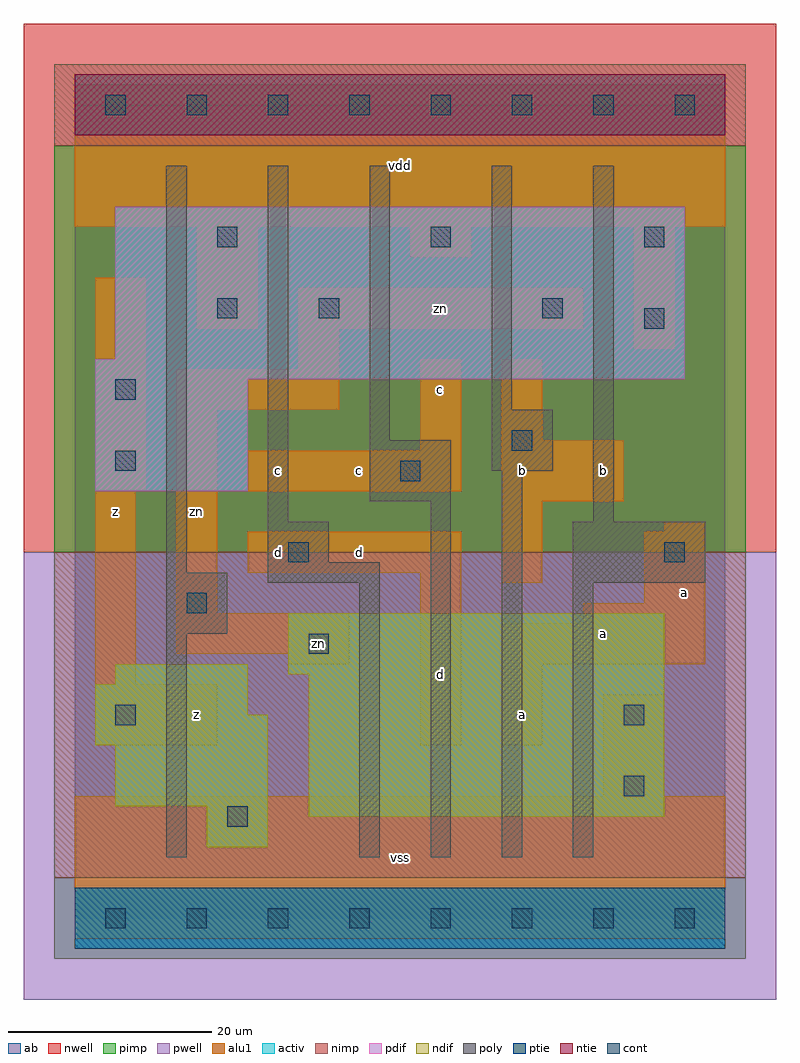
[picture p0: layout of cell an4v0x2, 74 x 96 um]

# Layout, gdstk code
import gdstk
lib = gdstk.Library(unit=1e-6, precision=1e-09)
def R(c, l, rs):  # rectangles x0, y0, x1, y1
    for r in rs: c.add(gdstk.rectangle(r[:2], r[2:], *l))
def A(c, l, x, y, w, h, nx, ny, dx, dy):  # array of equal rectangles
    R(c, l, [(x+i*dx, y+j*dy, x+i*dx+w, y+j*dy+h) for i in range(nx) for j in range(ny)])
ndif = (3, 0)
pdif = (4, 0)
ntie = (5, 0)
ptie = (6, 0)
cont = (25, 0)
pwell = (41, 0)
nwell = (42, 0)
activ = (43, 0)
pimp = (44, 0)
nimp = (45, 0)
poly = (46, 0)
alu1 = (49, 0)
ab = (63, 0)

an4v0x2 = lib.new_cell('an4v0x2')
R(an4v0x2, ndif, [(13,7,19,11), (23,10,58,24), (4,11,19,17), (2,17,19,20), (2,20,17,23), (4,23,17,25), (21,24,58,30)])
R(an4v0x2, pdif, [(2,42,17,53), (2,53,60,55), (4,55,60,70)])
R(an4v0x2, ntie, [(0,77,64,83)])
R(an4v0x2, ptie, [(0,-3,64,3)])
A(an4v0x2, cont, 3, -1, 2, 2, 8, 2, 8, 80)
A(an4v0x2, cont, 14, 66, 2, 2, 3, 1, 21, 0)
R(an4v0x2, cont, [(15,9,17,11), (54,12,56,14), (4,19,6,21), (54,19,56,21), (23,26,25,28), (11,30,13,32), (21,35,23,37), (58,35,60,37), (32,43,34,45), (4,44,6,46), (43,46,45,48), (4,51,6,53), (56,58,58,60), (14,59,16,61), (24,59,26,61), (46,59,48,61)])
R(an4v0x2, pwell, [(-5,-8,69,36)])
R(an4v0x2, nwell, [(-5,36,69,88)])
R(an4v0x2, activ, [(0,-3,64,3), (13,7,19,11), (23,10,58,24), (4,11,19,17), (2,17,19,20), (2,20,17,23), (4,23,17,25), (21,24,58,30), (2,42,17,53), (2,53,60,55), (4,55,60,70), (0,77,64,83)])
R(an4v0x2, pimp, [(-2,-4,66,4), (-2,36,66,76)])
R(an4v0x2, nimp, [(-2,4,66,36), (-2,76,66,84)])
R(an4v0x2, poly, [(9,6,11,28), (28,6,30,33), (35,6,37,41), (42,6,44,44), (49,6,51,33), (9,28,15,34), (19,33,30,35), (49,33,62,39), (9,34,11,74), (19,35,25,39), (19,39,21,74), (51,39,53,74), (29,41,37,47), (41,44,47,50), (29,47,31,74), (41,50,43,74)])
R(an4v0x2, alu1, [(0,-2,64,12), (52,12,58,22), (2,17,14,23), (34,17,38,34), (42,17,46,25), (2,23,6,42), (21,25,27,26), (42,25,62,29), (10,26,27,30), (50,29,62,31), (10,30,14,50), (56,31,62,38), (42,33,46,41), (17,34,38,38), (58,38,62,39), (42,41,54,47), (2,42,7,63), (17,42,38,46), (34,46,38,55), (42,47,46,55), (10,50,26,54), (22,54,26,58), (55,56,59,68), (12,58,18,68), (22,58,50,62), (33,65,39,68), (0,68,64,82)])
R(an4v0x2, ab, [(0,0,64,80)])
an4v0x2.add(gdstk.Label('zn', (12,40), layer=49, texttype=0))
an4v0x2.add(gdstk.Label('zn', (24,27), layer=49, texttype=0))
an4v0x2.add(gdstk.Label('zn', (36,60), layer=49, texttype=0))
an4v0x2.add(gdstk.Label('z', (12,20), layer=49, texttype=0))
an4v0x2.add(gdstk.Label('z', (4,40), layer=49, texttype=0))
an4v0x2.add(gdstk.Label('d', (20,36), layer=49, texttype=0))
an4v0x2.add(gdstk.Label('d', (28,36), layer=49, texttype=0))
an4v0x2.add(gdstk.Label('c', (20,44), layer=49, texttype=0))
an4v0x2.add(gdstk.Label('c', (28,44), layer=49, texttype=0))
an4v0x2.add(gdstk.Label('vss', (32,6), layer=49, texttype=0))
an4v0x2.add(gdstk.Label('a', (44,20), layer=49, texttype=0))
an4v0x2.add(gdstk.Label('d', (36,24), layer=49, texttype=0))
an4v0x2.add(gdstk.Label('b', (44,44), layer=49, texttype=0))
an4v0x2.add(gdstk.Label('c', (36,52), layer=49, texttype=0))
an4v0x2.add(gdstk.Label('vdd', (32,74), layer=49, texttype=0))
an4v0x2.add(gdstk.Label('a', (52,28), layer=49, texttype=0))
an4v0x2.add(gdstk.Label('a', (60,32), layer=49, texttype=0))
an4v0x2.add(gdstk.Label('b', (52,44), layer=49, texttype=0))

lib.write_gds('an4v0x2.gds')
